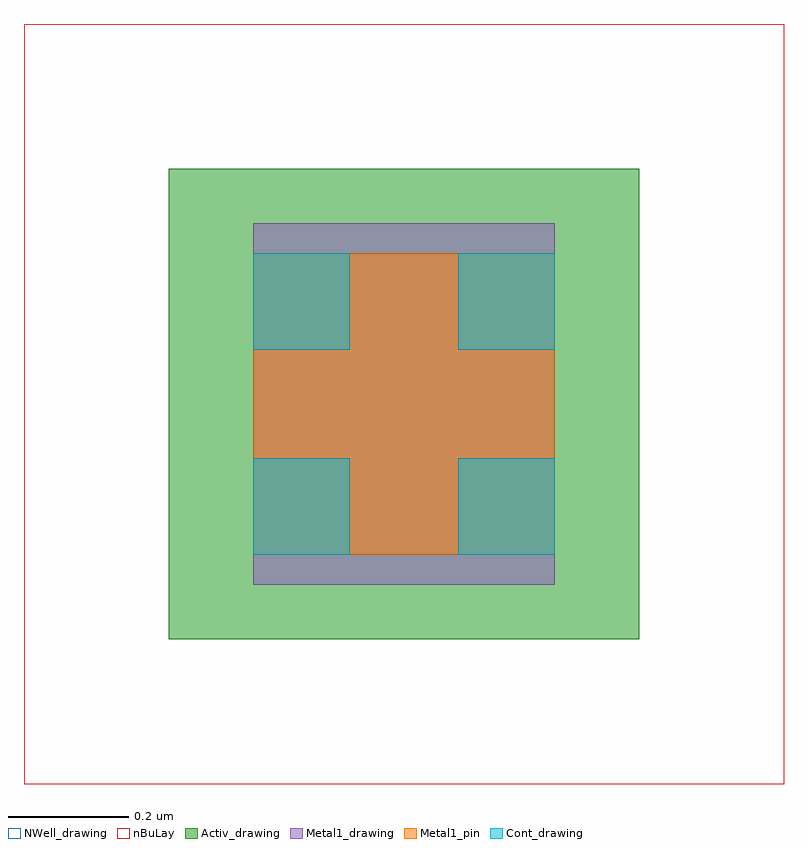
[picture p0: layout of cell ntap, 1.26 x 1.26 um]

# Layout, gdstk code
import gdstk
lib = gdstk.Library(unit=1e-6, precision=1e-09)
def R(c, l, rs):  # rectangles x0, y0, x1, y1
    for r in rs: c.add(gdstk.rectangle(r[:2], r[2:], *l))
Activ_drawing = (1, 0)
Cont_drawing = (6, 0)
Metal1_drawing = (8, 0)
Metal1_pin = (8, 2)
NWell_drawing = (31, 0)
nBuLay = (32, 0)

ntap = lib.new_cell('ntap')
R(ntap, Activ_drawing, [(-0.09,-0.315,0.69,0.465)])
R(ntap, Cont_drawing, [(0.05,-0.175,0.21,-0.015), (0.39,-0.175,0.55,-0.015), (0.05,0.165,0.21,0.325), (0.39,0.165,0.55,0.325)])
R(ntap, Metal1_drawing, [(0.05,-0.225,0.55,0.375)])
R(ntap, Metal1_pin, [(0.05,-0.175,0.55,0.325)])
R(ntap, NWell_drawing, [(-0.33,-0.555,0.93,0.705)])
R(ntap, nBuLay, [(-0.33,-0.555,0.93,0.705)])

lib.write_gds('ntap.gds')
